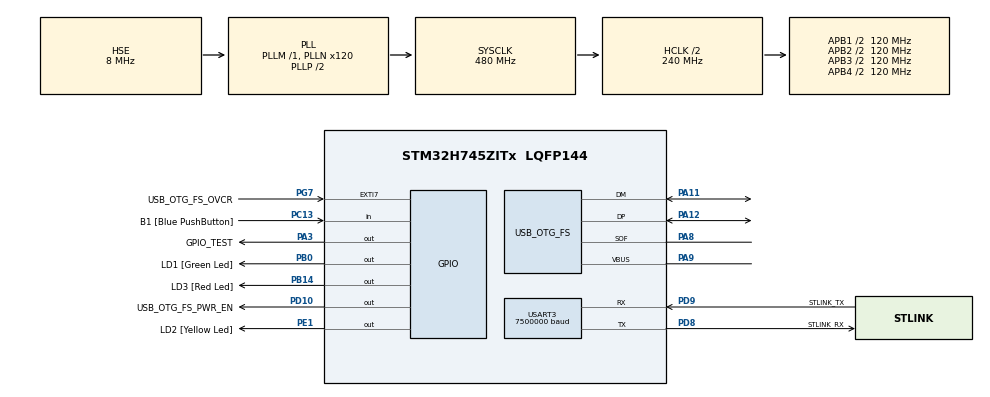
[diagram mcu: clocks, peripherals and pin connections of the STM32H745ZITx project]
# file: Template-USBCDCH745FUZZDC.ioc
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CRC.InputDataFormat=CRC_INPUTDATA_FORMAT_WORDS
CRC.InputDataInversionMode=CRC_INPUTDATA_INVERSION_WORD
CRC.OutputDataInversionMode=CRC_OUTPUTDATA_INVERSION_ENABLE
CortexM4.IPs=FATFS_M4\:I,FREERTOS_M4\:I,IWDG2\:I,RCC,WWDG2\:I,DMA,BDMA,MDMA,NVIC2\:I,USART3,DEBUG,USB_DEVICE_M4\:I,USB_HOST_M4\:I,PDM2PCM_M4\:I,PWR,RESMGR_UTILITY,SYS_M4\:I,CORTEX_M4\:I,OPENAMP_M4\:I,VREFBUF,TIM17\:I,TIM15\:I
CortexM4.Pins=PB0,PB14
CortexM7.IPs=FATFS_M7\:I,FREERTOS_M7\:I,IWDG1\:I,RCC\:I,WWDG1\:I,DMA\:I,BDMA\:I,MDMA\:I,NVIC1\:I,SYS\:I,USB_OTG_FS\:I,CORTEX_M7\:I,DEBUG\:I,USB_DEVICE_M7\:I,USB_HOST_M7\:I,PDM2PCM_M7\:I,PWR\:I,RESMGR_UTILITY\:I,OPENAMP_M7\:I,VREFBUF\:I,RNG\:I,CRC\:I,USART3\:I,TIM16\:I
Mcu.Family=STM32H7
Mcu.Name=STM32H745ZITx
Mcu.Package=LQFP144
NVIC1.HASH_RNG_IRQn=true\:5\:0\:true\:false\:true\:true\:true
NVIC1.HSEM1_IRQn=true\:5\:0\:true\:false\:true\:true\:true
NVIC1.OTG_FS_IRQn=true\:5\:0\:true\:false\:true\:false\:true
NVIC1.PriorityGroup=NVIC_PRIORITYGROUP_4
NVIC1.TIM16_IRQn=true\:15\:0\:true\:false\:true\:false\:true
NVIC1.TimeBase=TIM16_IRQn
NVIC1.TimeBaseIP=TIM16
NVIC2.HSEM2_IRQn=true\:5\:0\:true\:false\:true\:true\:true
NVIC2.PriorityGroup=NVIC_PRIORITYGROUP_4
NVIC2.TIM17_IRQn=true\:0\:0\:true\:false\:true\:false\:true
NVIC2.TimeBase=TIM17_IRQn
NVIC2.TimeBaseIP=TIM17
PA1.PinAttribute=CortexM4
PA1.Signal=ETH_REF_CLK
PA11.Mode=Device_Only
PA11.PinAttribute=CortexM7
PA11.Signal=USB_OTG_FS_DM
PA12.Mode=Device_Only
PA12.PinAttribute=CortexM7
PA12.Signal=USB_OTG_FS_DP
PA2.PinAttribute=CortexM4
PA2.Signal=ETH_MDIO
PA3.GPIO_Label=GPIO_TEST
PA3.PinAttribute=Free
PA3.Signal=GPIO_Output
PA7.PinAttribute=CortexM4
PA7.Signal=ETH_CRS_DV
PA8.Mode=Activate_SOF_FS
PA8.PinAttribute=CortexM7
PA8.Signal=USB_OTG_FS_SOF
PA9.Mode=Activate_VBUS
PA9.PinAttribute=CortexM7
PA9.Signal=USB_OTG_FS_VBUS
PB0.GPIO_Label=LD1 [Green Led]
PB0.PinAttribute=CortexM4
PB0.Signal=GPIO_Output
PB13.PinAttribute=CortexM4
PB13.Signal=ETH_TXD1
PB14.GPIO_Label=LD3 [Red Led]
PB14.PinAttribute=CortexM4
PB14.Signal=GPIO_Output
PC1.PinAttribute=CortexM4
PC1.Signal=ETH_MDC
PC13.GPIO_Label=B1 [Blue PushButton]
PC13.PinAttribute=Free
PC13.Signal=GPIO_Input
PC14-OSC32_IN\ (OSC32_IN).Mode=LSE-External-Oscillator
PC14-OSC32_IN\ (OSC32_IN).PinAttribute=CortexM7
PC14-OSC32_IN\ (OSC32_IN).Signal=RCC_OSC32_IN
PC15-OSC32_OUT\ (OSC32_OUT).Mode=LSE-External-Oscillator
PC15-OSC32_OUT\ (OSC32_OUT).PinAttribute=CortexM7
PC15-OSC32_OUT\ (OSC32_OUT).Signal=RCC_OSC32_OUT
PC4.PinAttribute=CortexM4
PC4.Signal=ETH_RXD0
PC5.PinAttribute=CortexM4
PC5.Signal=ETH_RXD1
PD10.GPIO_Label=USB_OTG_FS_PWR_EN
PD10.PinAttribute=Free
PD10.Signal=GPIO_Output
PD8.GPIO_Label=STLINK_RX
PD8.Mode=Asynchronous
PD8.PinAttribute=CortexM7
PD8.Signal=USART3_TX
PD9.GPIO_Label=STLINK_TX
PD9.Mode=Asynchronous
PD9.PinAttribute=CortexM7
PD9.Signal=USART3_RX
PE1.GPIO_Label=LD2 [Yellow Led]
PE1.PinAttribute=Free
PE1.Signal=GPIO_Output
PG11.PinAttribute=CortexM4
PG11.Signal=ETH_TX_EN
PG13.PinAttribute=CortexM4
PG13.Signal=ETH_TXD0
PG7.GPIO_Label=USB_OTG_FS_OVCR
PG7.PinAttribute=Free
PG7.Signal=GPXTI7
PH0-OSC_IN\ (PH0).Mode=HSE-External-Clock-Source
PH0-OSC_IN\ (PH0).PinAttribute=CortexM7
PH0-OSC_IN\ (PH0).Signal=RCC_OSC_IN
PH1-OSC_OUT\ (PH1).PinAttribute=CortexM7
PH1-OSC_OUT\ (PH1).Signal=RCC_OSC_OUT
ProjectManager.HeapSize=M4-0x200,M7-0x200
ProjectManager.StackSize=M4-0x400,M7-0x400
ProjectManager.TargetToolchain=STM32CubeIDE
RCC.ADCFreq_Value=16125000
RCC.APB1Freq_Value=120000000
RCC.APB2Freq_Value=120000000
RCC.APB3Freq_Value=120000000
RCC.APB4Freq_Value=120000000
RCC.CortexFreq_Value=480000000
RCC.D1PPRE=RCC_APB3_DIV2
RCC.D2PPRE1=RCC_APB1_DIV2
RCC.D2PPRE2=RCC_APB2_DIV2
RCC.D3PPRE=RCC_APB4_DIV2
RCC.DIVM1=1
RCC.DIVM3=1
RCC.DIVN1=120
RCC.DIVN3=24
RCC.DIVQ3=4
RCC.HCLKFreq_Value=240000000
RCC.HPRE=RCC_HCLK_DIV2
RCC.HSE_VALUE=8000000
RCC.PLL2FRACN=0
RCC.PLL3FRACN=0
RCC.PLLFRACN=0
RCC.SYSCLKFreq_VALUE=480000000
RCC.SYSCLKSource=RCC_SYSCLKSOURCE_PLLCLK
RCC.SupplySource=PWR_DIRECT_SMPS_SUPPLY
RCC.USBCLockSelection=RCC_USBCLKSOURCE_PLL3
RCC.USBFreq_Value=48000000
USART3.BaudRate=7500000
USART3.VirtualMode-Asynchronous=VM_ASYNC
USB_DEVICE_M7.APP_RX_DATA_SIZE-CDC_FS=2048
USB_DEVICE_M7.CLASS_NAME_FS=CDC
USB_DEVICE_M7.VirtualMode-CDC_FS=Cdc
USB_DEVICE_M7.VirtualModeFS=Cdc_FS
USB_OTG_FS.VirtualMode=Device_Only
VP_CRC_VS_CRC.Mode=CRC_Activate
VP_RNG_VS_RNG.Mode=RNG_Activate
VP_SYS_M4_VS_tim17.Mode=TIM17
VP_SYS_VS_tim16.Mode=TIM16
VP_USB_DEVICE_M7_VS_USB_DEVICE_CDC_FS.Mode=CDC_FS
VP_WWDG2_VS_WWDG.Mode=WWDG_Activate
WWDG2.Counter=80
WWDG2.EWIMode=WWDG_EWI_DISABLE
WWDG2.Prescaler=WWDG_PRESCALER_2
WWDG2.Window=80
board=NUCLEO-H745ZI-Q

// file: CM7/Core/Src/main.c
/* USER CODE BEGIN Header */
/**
  ******************************************************************************
  * @file           : main.c
  * @brief          : Main program body
  ******************************************************************************
  * @attention
  *
  * <h2><center>&copy; Copyright (c) 2021 STMicroelectronics.
  * All rights reserved.</center></h2>
  *
  * This software component is licensed by ST under BSD 3-Clause license,
  * the "License"; You may not use this file except in compliance with the
  * License. You may obtain a copy of the License at:
  *                        opensource.org/licenses/BSD-3-Clause
  *
  ******************************************************************************
  */
/* USER CODE END Header */
#include "main.h"

/* USER CODE BEGIN Includes */
#include "fuzzing.h"
#include "app_main.h"
#include "string.h"
/* USER CODE END Includes */

/* USER CODE BEGIN PTD */
void led_init(void);
//volatile uint16_t *aflbitmap;

/*
RingBuffer_t inputAFL;
volatile uint32_t inputLength;
volatile bool bRXcomplete;  // variable must be declared as volatile otherwise the compiler may optimize out it
volatile bool bTXcomplete;
volatile uint16_t previousGuard;
volatile uint32_t timespan;
volatile uint16_t aflbitmap[AFL_BITMAP_SIZE];
uint8_t aflheader[8];
tuple_t  afldiff [AFL_BITMAP_SIZE/2];
uint16_t indexdif = 0;
extern USBD_HandleTypeDef hUsbDeviceFS;
*/

/* USER CODE END PTD */

/* USER CODE BEGIN PD */

#ifndef HSEM_ID_0
#define HSEM_ID_0 (0U) /* HW semaphore 0*/
#endif
/* USER CODE END PD */

CRC_HandleTypeDef hcrc;

RNG_HandleTypeDef hrng;

UART_HandleTypeDef huart3;

void SystemClock_Config(void);
static void MX_GPIO_Init(void);
static void MX_USART3_UART_Init(void);
static void MX_RNG_Init(void);
static void MX_CRC_Init(void);
/* USER CODE BEGIN PFP */
void __io_putchar(uint8_t ch) {
HAL_UART_Transmit(&huart3, &ch, 1, 1);
}
/* USER CODE END PFP */

int main(void)
{
  /* USER CODE BEGIN 1 */

	/* Enable I-Cache */
	//SCB_EnableICache();  // we will only use the instruction cache
	/* Enable D-Cache */
	//SCB_EnableDCache();

  /* USER CODE END 1 */
/* USER CODE BEGIN Boot_Mode_Sequence_0 */
	  int32_t timeout;
/* USER CODE END Boot_Mode_Sequence_0 */

/* USER CODE BEGIN Boot_Mode_Sequence_1 */
	  /* Wait until CPU2 boots and enters in stop mode or timeout*/
	  timeout = 0xFFFFF;
	  while((__HAL_RCC_GET_FLAG(RCC_FLAG_D2CKRDY) != RESET) && (timeout-- > 0));
	  if ( timeout < 0 )
	  {
	    Error_Handler();
	  }
/* USER CODE END Boot_Mode_Sequence_1 */
  /* MCU Configuration--------------------------------------------------------*/

  /* Reset of all peripherals, Initializes the Flash interface and the Systick. */
  HAL_Init();

  /* Configure the system clock */
  SystemClock_Config();
/* USER CODE BEGIN Boot_Mode_Sequence_2 */
	/* When system initialization is finished, Cortex-M7 will release Cortex-M4 by means of
	HSEM notification */
    Fuzzer_t *pAFLfuzzer = (Fuzzer_t *)AFLfuzzerRegion;
    memset((void* )pAFLfuzzer ,0, sizeof(Fuzzer_t));

	/*HW semaphore Clock enable*/
	__HAL_RCC_HSEM_CLK_ENABLE();
	/*Take HSEM */
	HAL_HSEM_FastTake(HSEM_ID_0);
	/*Release HSEM in order to notify the CPU2(CM4)*/
	HAL_HSEM_Release(HSEM_ID_0,0);
	/* wait until CPU2 wakes up from stop mode */
	timeout = 0xFFFF;
	while((__HAL_RCC_GET_FLAG(RCC_FLAG_D2CKRDY) == RESET) && (timeout-- > 0));
	if ( timeout < 0 )
	{
	  Error_Handler();
	}
/* USER CODE END Boot_Mode_Sequence_2 */

  /* Initialize all configured peripherals */
  MX_GPIO_Init();
  MX_USART3_UART_Init();
  MX_RNG_Init();
  MX_CRC_Init();
  /* USER CODE BEGIN 2 */

  led_init();

  app_main();

  // it should never reach beyond this point since the RTOS kernel is in execution at this point

  /* USER CODE END 2 */

  /* Infinite loop */
  /* USER CODE BEGIN WHILE */
  while (1)
  {

	  //FuzzingTestWrapper();

    /* USER CODE END WHILE */

  }
}

void SystemClock_Config(void)
{
  RCC_OscInitTypeDef RCC_OscInitStruct = {0};
  RCC_ClkInitTypeDef RCC_ClkInitStruct = {0};

  /** Supply configuration update enable
  */
  HAL_PWREx_ConfigSupply(PWR_DIRECT_SMPS_SUPPLY);
  /** Configure the main internal regulator output voltage
  */
  __HAL_PWR_VOLTAGESCALING_CONFIG(PWR_REGULATOR_VOLTAGE_SCALE0);

  while(!__HAL_PWR_GET_FLAG(PWR_FLAG_VOSRDY)) {}
  /** Macro to configure the PLL clock source
  */
  __HAL_RCC_PLL_PLLSOURCE_CONFIG(RCC_PLLSOURCE_HSE);
  /** Initializes the RCC Oscillators according to the specified parameters
  * in the RCC_OscInitTypeDef structure.
  */
  RCC_OscInitStruct.OscillatorType = RCC_OSCILLATORTYPE_HSI48|RCC_OSCILLATORTYPE_HSE;
  RCC_OscInitStruct.HSEState = RCC_HSE_BYPASS;
  RCC_OscInitStruct.HSI48State = RCC_HSI48_ON;
  RCC_OscInitStruct.PLL.PLLState = RCC_PLL_ON;
  RCC_OscInitStruct.PLL.PLLSource = RCC_PLLSOURCE_HSE;
  RCC_OscInitStruct.PLL.PLLM = 1;
  RCC_OscInitStruct.PLL.PLLN = 120;
  RCC_OscInitStruct.PLL.PLLP = 2;
  RCC_OscInitStruct.PLL.PLLQ = 2;
  RCC_OscInitStruct.PLL.PLLR = 2;
  RCC_OscInitStruct.PLL.PLLRGE = RCC_PLL1VCIRANGE_3;
  RCC_OscInitStruct.PLL.PLLVCOSEL = RCC_PLL1VCOWIDE;
  RCC_OscInitStruct.PLL.PLLFRACN = 0;
  if (HAL_RCC_OscConfig(&RCC_OscInitStruct) != HAL_OK)
  {
    Error_Handler();
  }
  /** Initializes the CPU, AHB and APB buses clocks
  */
  RCC_ClkInitStruct.ClockType = RCC_CLOCKTYPE_HCLK|RCC_CLOCKTYPE_SYSCLK
                              |RCC_CLOCKTYPE_PCLK1|RCC_CLOCKTYPE_PCLK2
                              |RCC_CLOCKTYPE_D3PCLK1|RCC_CLOCKTYPE_D1PCLK1;
  RCC_ClkInitStruct.SYSCLKSource = RCC_SYSCLKSOURCE_PLLCLK;
  RCC_ClkInitStruct.SYSCLKDivider = RCC_SYSCLK_DIV1;
  RCC_ClkInitStruct.AHBCLKDivider = RCC_HCLK_DIV2;
  RCC_ClkInitStruct.APB3CLKDivider = RCC_APB3_DIV2;
  RCC_ClkInitStruct.APB1CLKDivider = RCC_APB1_DIV2;
  RCC_ClkInitStruct.APB2CLKDivider = RCC_APB2_DIV2;
  RCC_ClkInitStruct.APB4CLKDivider = RCC_APB4_DIV2;

  if (HAL_RCC_ClockConfig(&RCC_ClkInitStruct, FLASH_LATENCY_4) != HAL_OK)
  {
    Error_Handler();
  }
}

static void MX_CRC_Init(void)
{

  hcrc.Instance = CRC;
  hcrc.Init.DefaultPolynomialUse = DEFAULT_POLYNOMIAL_ENABLE;
  hcrc.Init.DefaultInitValueUse = DEFAULT_INIT_VALUE_ENABLE;
  hcrc.Init.InputDataInversionMode = CRC_INPUTDATA_INVERSION_WORD;
  hcrc.Init.OutputDataInversionMode = CRC_OUTPUTDATA_INVERSION_ENABLE;
  hcrc.InputDataFormat = CRC_INPUTDATA_FORMAT_WORDS;
  if (HAL_CRC_Init(&hcrc) != HAL_OK)
  {
    Error_Handler();
  }

}

static void MX_RNG_Init(void)
{

  hrng.Instance = RNG;
  hrng.Init.ClockErrorDetection = RNG_CED_ENABLE;
  if (HAL_RNG_Init(&hrng) != HAL_OK)
  {
    Error_Handler();
  }

}

static void MX_USART3_UART_Init(void)
{

  huart3.Instance = USART3;
  huart3.Init.BaudRate = 7500000;
  huart3.Init.WordLength = UART_WORDLENGTH_8B;
  huart3.Init.StopBits = UART_STOPBITS_1;
  huart3.Init.Parity = UART_PARITY_NONE;
  huart3.Init.Mode = UART_MODE_TX_RX;
  huart3.Init.HwFlowCtl = UART_HWCONTROL_NONE;
  huart3.Init.OverSampling = UART_OVERSAMPLING_16;
  huart3.Init.OneBitSampling = UART_ONE_BIT_SAMPLE_DISABLE;
  huart3.Init.ClockPrescaler = UART_PRESCALER_DIV1;
  huart3.AdvancedInit.AdvFeatureInit = UART_ADVFEATURE_NO_INIT;
  if (HAL_UART_Init(&huart3) != HAL_OK)
  {
    Error_Handler();
  }
  if (HAL_UARTEx_SetTxFifoThreshold(&huart3, UART_TXFIFO_THRESHOLD_1_8) != HAL_OK)
  {
    Error_Handler();
  }
  if (HAL_UARTEx_SetRxFifoThreshold(&huart3, UART_RXFIFO_THRESHOLD_1_8) != HAL_OK)
  {
    Error_Handler();
  }
  if (HAL_UARTEx_DisableFifoMode(&huart3) != HAL_OK)
  {
    Error_Handler();
  }

}

static void MX_GPIO_Init(void)
{

  /* GPIO Ports Clock Enable */
  __HAL_RCC_GPIOC_CLK_ENABLE();
  __HAL_RCC_GPIOH_CLK_ENABLE();
  __HAL_RCC_GPIOD_CLK_ENABLE();
  __HAL_RCC_GPIOA_CLK_ENABLE();

}

/* USER CODE BEGIN 4 */
void led_init(void) {

	__HAL_RCC_GPIOB_CLK_ENABLE();
    GPIO_InitTypeDef GPIO_InitStruct = {0};

    LD1_GPIO_CLK_EN();

    GPIO_InitStruct.Pin = LD1_GPIO_PIN;
    GPIO_InitStruct.Mode = GPIO_MODE_OUTPUT_PP;
    GPIO_InitStruct.Pull = GPIO_NOPULL;
    GPIO_InitStruct.Speed = GPIO_SPEED_FREQ_LOW;
    HAL_GPIO_Init(LD1_GPIO_PORT, &GPIO_InitStruct);
}
/* USER CODE END 4 */

void HAL_TIM_PeriodElapsedCallback(TIM_HandleTypeDef *htim)
{
  if (htim->Instance == TIM16) {
    HAL_IncTick();
  }
}

void Error_Handler(void)
{
  __disable_irq();
  while (1)
  {
  }
}

/************************ (C) COPYRIGHT STMicroelectronics *****END OF FILE****/
